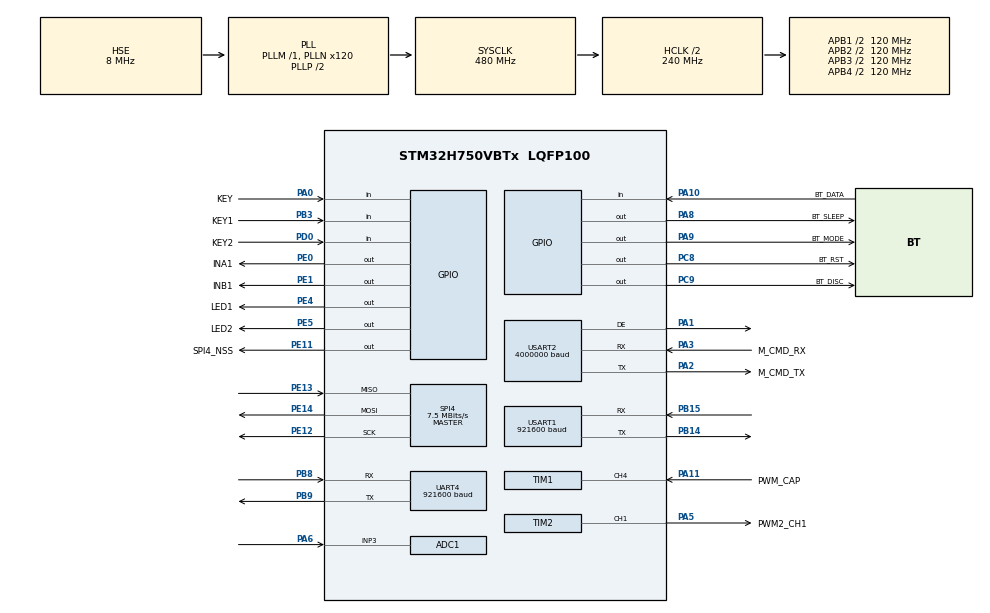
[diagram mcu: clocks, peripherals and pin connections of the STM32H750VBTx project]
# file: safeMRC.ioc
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ADC1.Channel-6\#ChannelRegularConversion=ADC_CHANNEL_3
ADC1.ContinuousConvMode=ENABLE
ADC1.ConversionDataManagement=ADC_CONVERSIONDATA_DMA_CIRCULAR
ADC1.NbrOfConversion=1
ADC1.NbrOfConversionFlag=1
ADC1.OffsetNumber-6\#ChannelRegularConversion=ADC_OFFSET_NONE
ADC1.OffsetSignedSaturation-6\#ChannelRegularConversion=DISABLE
ADC1.OversamplingMode=ENABLE
ADC1.Rank-6\#ChannelRegularConversion=1
ADC1.Ratio=16
ADC1.RightBitShift=ADC_RIGHTBITSHIFT_4
ADC1.SamplingTime-6\#ChannelRegularConversion=ADC_SAMPLETIME_64CYCLES_5
ADC1.master=1
CORTEX_M7.default_mode_Activation=1
Dma.ADC1.2.Direction=DMA_PERIPH_TO_MEMORY
Dma.ADC1.2.EventEnable=DISABLE
Dma.ADC1.2.FIFOMode=DMA_FIFOMODE_DISABLE
Dma.ADC1.2.Instance=DMA1_Stream4
Dma.ADC1.2.MemDataAlignment=DMA_MDATAALIGN_HALFWORD
Dma.ADC1.2.MemInc=DMA_MINC_ENABLE
Dma.ADC1.2.Mode=DMA_CIRCULAR
Dma.ADC1.2.PeriphDataAlignment=DMA_PDATAALIGN_HALFWORD
Dma.ADC1.2.PeriphInc=DMA_PINC_DISABLE
Dma.ADC1.2.Polarity=HAL_DMAMUX_REQ_GEN_RISING
Dma.ADC1.2.Priority=DMA_PRIORITY_LOW
Dma.ADC1.2.RequestNumber=1
Dma.ADC1.2.SignalID=NONE
Dma.ADC1.2.SyncEnable=DISABLE
Dma.ADC1.2.SyncPolarity=HAL_DMAMUX_SYNC_NO_EVENT
Dma.ADC1.2.SyncRequestNumber=1
Dma.ADC1.2.SyncSignalID=NONE
Dma.Request0=USART2_RX
Dma.Request1=USART2_TX
Dma.Request2=ADC1
Dma.Request3=USART1_RX
Dma.Request4=USART1_TX
Dma.Request5=SPI4_TX
Dma.Request6=SPI4_RX
Dma.Request7=UART4_RX
Dma.SPI4_RX.6.Direction=DMA_PERIPH_TO_MEMORY
Dma.SPI4_RX.6.EventEnable=DISABLE
Dma.SPI4_RX.6.FIFOMode=DMA_FIFOMODE_DISABLE
Dma.SPI4_RX.6.Instance=DMA1_Stream1
Dma.SPI4_RX.6.MemDataAlignment=DMA_MDATAALIGN_BYTE
Dma.SPI4_RX.6.MemInc=DMA_MINC_ENABLE
Dma.SPI4_RX.6.Mode=DMA_NORMAL
Dma.SPI4_RX.6.PeriphDataAlignment=DMA_PDATAALIGN_BYTE
Dma.SPI4_RX.6.PeriphInc=DMA_PINC_DISABLE
Dma.SPI4_RX.6.Polarity=HAL_DMAMUX_REQ_GEN_RISING
Dma.SPI4_RX.6.Priority=DMA_PRIORITY_MEDIUM
Dma.SPI4_RX.6.RequestNumber=1
Dma.SPI4_RX.6.SignalID=NONE
Dma.SPI4_RX.6.SyncEnable=DISABLE
Dma.SPI4_RX.6.SyncPolarity=HAL_DMAMUX_SYNC_NO_EVENT
Dma.SPI4_RX.6.SyncRequestNumber=1
Dma.SPI4_RX.6.SyncSignalID=NONE
Dma.SPI4_TX.5.Direction=DMA_MEMORY_TO_PERIPH
Dma.SPI4_TX.5.EventEnable=DISABLE
Dma.SPI4_TX.5.FIFOMode=DMA_FIFOMODE_DISABLE
Dma.SPI4_TX.5.Instance=DMA1_Stream0
Dma.SPI4_TX.5.MemDataAlignment=DMA_MDATAALIGN_BYTE
Dma.SPI4_TX.5.MemInc=DMA_MINC_ENABLE
Dma.SPI4_TX.5.Mode=DMA_NORMAL
Dma.SPI4_TX.5.PeriphDataAlignment=DMA_PDATAALIGN_BYTE
Dma.SPI4_TX.5.PeriphInc=DMA_PINC_DISABLE
Dma.SPI4_TX.5.Polarity=HAL_DMAMUX_REQ_GEN_RISING
Dma.SPI4_TX.5.Priority=DMA_PRIORITY_MEDIUM
Dma.SPI4_TX.5.RequestNumber=1
Dma.SPI4_TX.5.SignalID=NONE
Dma.SPI4_TX.5.SyncEnable=DISABLE
Dma.SPI4_TX.5.SyncPolarity=HAL_DMAMUX_SYNC_NO_EVENT
Dma.SPI4_TX.5.SyncRequestNumber=1
Dma.SPI4_TX.5.SyncSignalID=NONE
Dma.UART4_RX.7.Direction=DMA_PERIPH_TO_MEMORY
Dma.UART4_RX.7.EventEnable=DISABLE
Dma.UART4_RX.7.FIFOMode=DMA_FIFOMODE_DISABLE
Dma.UART4_RX.7.Instance=DMA1_Stream5
Dma.UART4_RX.7.MemDataAlignment=DMA_MDATAALIGN_BYTE
Dma.UART4_RX.7.MemInc=DMA_MINC_ENABLE
Dma.UART4_RX.7.Mode=DMA_NORMAL
Dma.UART4_RX.7.PeriphDataAlignment=DMA_PDATAALIGN_BYTE
Dma.UART4_RX.7.PeriphInc=DMA_PINC_DISABLE
Dma.UART4_RX.7.Polarity=HAL_DMAMUX_REQ_GEN_RISING
Dma.UART4_RX.7.Priority=DMA_PRIORITY_VERY_HIGH
Dma.UART4_RX.7.RequestNumber=1
Dma.UART4_RX.7.SignalID=NONE
Dma.UART4_RX.7.SyncEnable=DISABLE
Dma.UART4_RX.7.SyncPolarity=HAL_DMAMUX_SYNC_NO_EVENT
Dma.UART4_RX.7.SyncRequestNumber=1
Dma.UART4_RX.7.SyncSignalID=NONE
Dma.USART1_RX.3.Direction=DMA_PERIPH_TO_MEMORY
Dma.USART1_RX.3.EventEnable=DISABLE
Dma.USART1_RX.3.FIFOMode=DMA_FIFOMODE_DISABLE
Dma.USART1_RX.3.Instance=DMA2_Stream0
Dma.USART1_RX.3.MemDataAlignment=DMA_MDATAALIGN_BYTE
Dma.USART1_RX.3.MemInc=DMA_MINC_ENABLE
Dma.USART1_RX.3.Mode=DMA_NORMAL
Dma.USART1_RX.3.PeriphDataAlignment=DMA_PDATAALIGN_BYTE
Dma.USART1_RX.3.PeriphInc=DMA_PINC_DISABLE
Dma.USART1_RX.3.Polarity=HAL_DMAMUX_REQ_GEN_RISING
Dma.USART1_RX.3.Priority=DMA_PRIORITY_MEDIUM
Dma.USART1_RX.3.RequestNumber=1
Dma.USART1_RX.3.SignalID=NONE
Dma.USART1_RX.3.SyncEnable=DISABLE
Dma.USART1_RX.3.SyncPolarity=HAL_DMAMUX_SYNC_NO_EVENT
Dma.USART1_RX.3.SyncRequestNumber=1
Dma.USART1_RX.3.SyncSignalID=NONE
Dma.USART1_TX.4.Direction=DMA_MEMORY_TO_PERIPH
Dma.USART1_TX.4.EventEnable=DISABLE
Dma.USART1_TX.4.FIFOMode=DMA_FIFOMODE_DISABLE
Dma.USART1_TX.4.Instance=DMA2_Stream1
Dma.USART1_TX.4.MemDataAlignment=DMA_MDATAALIGN_BYTE
Dma.USART1_TX.4.MemInc=DMA_MINC_ENABLE
Dma.USART1_TX.4.Mode=DMA_NORMAL
Dma.USART1_TX.4.PeriphDataAlignment=DMA_PDATAALIGN_BYTE
Dma.USART1_TX.4.PeriphInc=DMA_PINC_DISABLE
Dma.USART1_TX.4.Polarity=HAL_DMAMUX_REQ_GEN_RISING
Dma.USART1_TX.4.Priority=DMA_PRIORITY_MEDIUM
Dma.USART1_TX.4.RequestNumber=1
Dma.USART1_TX.4.SignalID=NONE
Dma.USART1_TX.4.SyncEnable=DISABLE
Dma.USART1_TX.4.SyncPolarity=HAL_DMAMUX_SYNC_NO_EVENT
Dma.USART1_TX.4.SyncRequestNumber=1
Dma.USART1_TX.4.SyncSignalID=NONE
Dma.USART2_RX.0.Direction=DMA_PERIPH_TO_MEMORY
Dma.USART2_RX.0.EventEnable=DISABLE
Dma.USART2_RX.0.FIFOMode=DMA_FIFOMODE_DISABLE
Dma.USART2_RX.0.Instance=DMA1_Stream2
Dma.USART2_RX.0.MemDataAlignment=DMA_MDATAALIGN_BYTE
Dma.USART2_RX.0.MemInc=DMA_MINC_ENABLE
Dma.USART2_RX.0.Mode=DMA_NORMAL
Dma.USART2_RX.0.PeriphDataAlignment=DMA_PDATAALIGN_BYTE
Dma.USART2_RX.0.PeriphInc=DMA_PINC_DISABLE
Dma.USART2_RX.0.Polarity=HAL_DMAMUX_REQ_GEN_RISING
Dma.USART2_RX.0.Priority=DMA_PRIORITY_MEDIUM
Dma.USART2_RX.0.RequestNumber=1
Dma.USART2_RX.0.SignalID=NONE
Dma.USART2_RX.0.SyncEnable=DISABLE
Dma.USART2_RX.0.SyncPolarity=HAL_DMAMUX_SYNC_NO_EVENT
Dma.USART2_RX.0.SyncRequestNumber=1
Dma.USART2_RX.0.SyncSignalID=NONE
Dma.USART2_TX.1.Direction=DMA_MEMORY_TO_PERIPH
Dma.USART2_TX.1.EventEnable=DISABLE
Dma.USART2_TX.1.FIFOMode=DMA_FIFOMODE_DISABLE
Dma.USART2_TX.1.Instance=DMA1_Stream3
Dma.USART2_TX.1.MemDataAlignment=DMA_MDATAALIGN_BYTE
Dma.USART2_TX.1.MemInc=DMA_MINC_ENABLE
Dma.USART2_TX.1.Mode=DMA_NORMAL
Dma.USART2_TX.1.PeriphDataAlignment=DMA_PDATAALIGN_BYTE
Dma.USART2_TX.1.PeriphInc=DMA_PINC_DISABLE
Dma.USART2_TX.1.Polarity=HAL_DMAMUX_REQ_GEN_RISING
Dma.USART2_TX.1.Priority=DMA_PRIORITY_MEDIUM
Dma.USART2_TX.1.RequestNumber=1
Dma.USART2_TX.1.SignalID=NONE
Dma.USART2_TX.1.SyncEnable=DISABLE
Dma.USART2_TX.1.SyncPolarity=HAL_DMAMUX_SYNC_NO_EVENT
Dma.USART2_TX.1.SyncRequestNumber=1
Dma.USART2_TX.1.SyncSignalID=NONE
Mcu.Family=STM32H7
Mcu.Name=STM32H750VBTx
Mcu.Package=LQFP100
NVIC.DMA1_Stream0_IRQn=true\:0\:0\:false\:false\:true\:false\:true\:true
NVIC.DMA1_Stream1_IRQn=true\:0\:0\:false\:false\:true\:false\:true\:true
NVIC.DMA1_Stream2_IRQn=true\:6\:0\:true\:false\:true\:false\:true\:true
NVIC.DMA1_Stream3_IRQn=true\:6\:0\:true\:false\:true\:false\:true\:true
NVIC.DMA1_Stream4_IRQn=true\:6\:0\:true\:false\:true\:false\:true\:true
NVIC.DMA1_Stream5_IRQn=true\:0\:0\:false\:false\:true\:false\:true\:true
NVIC.DMA2_Stream0_IRQn=true\:0\:0\:false\:false\:true\:false\:true\:true
NVIC.DMA2_Stream1_IRQn=true\:0\:0\:false\:false\:true\:false\:true\:true
NVIC.PriorityGroup=NVIC_PRIORITYGROUP_4
NVIC.SPI4_IRQn=true\:0\:0\:false\:false\:true\:false\:true\:true
NVIC.TIM1_CC_IRQn=true\:3\:0\:true\:false\:true\:true\:true\:true
NVIC.TIM3_IRQn=true\:6\:0\:true\:false\:true\:true\:true\:true
NVIC.TIM4_IRQn=true\:6\:0\:true\:false\:true\:true\:true\:true
NVIC.TIM6_DAC_IRQn=true\:6\:0\:true\:false\:true\:true\:true\:true
NVIC.TIM7_IRQn=true\:5\:0\:true\:false\:true\:true\:true\:true
NVIC.UART4_IRQn=true\:6\:0\:true\:false\:true\:true\:true\:true
NVIC.USART1_IRQn=true\:7\:0\:true\:false\:true\:true\:true\:true
NVIC.USART2_IRQn=true\:1\:0\:true\:false\:true\:false\:true\:true
PA0.GPIO_Label=KEY
PA0.GPIO_PuPd=GPIO_PULLDOWN
PA0.Signal=GPIO_Input
PA1.Mode=Hardware Flow Control (RS485)
PA1.Signal=USART2_DE
PA10.GPIO_Label=BT_DATA
PA10.Signal=GPIO_Input
PA11.GPIO_Label=PWM_CAP
PA11.Signal=S_TIM1_CH4
PA13\ (JTMS/SWDIO).Mode=Serial_Wire
PA13\ (JTMS/SWDIO).Signal=DEBUG_JTMS-SWDIO
PA14\ (JTCK/SWCLK).Mode=Serial_Wire
PA14\ (JTCK/SWCLK).Signal=DEBUG_JTCK-SWCLK
PA2.GPIO_Label=M_CMD_TX
PA2.GPIO_PuPd=GPIO_PULLUP
PA2.GPIO_Speed=GPIO_SPEED_FREQ_VERY_HIGH
PA2.Mode=Asynchronous
PA2.Signal=USART2_TX
PA3.GPIO_Label=M_CMD_RX
PA3.GPIO_ModeDefaultPP=GPIO_MODE_AF_PP
PA3.GPIO_PuPd=GPIO_PULLUP
PA3.GPIO_Speed=GPIO_SPEED_FREQ_VERY_HIGH
PA3.Mode=Asynchronous
PA3.Signal=USART2_RX
PA5.GPIO_Label=PWM2_CH1
PA5.Signal=S_TIM2_CH1_ETR
PA6.Signal=ADCx_INP3
PA8.GPIO_Label=BT_SLEEP
PA8.Signal=GPIO_Output
PA9.GPIO_Label=BT_MODE
PA9.Signal=GPIO_Output
PB14.Mode=Asynchronous
PB14.Signal=USART1_TX
PB15.Mode=Asynchronous
PB15.Signal=USART1_RX
PB3\ (JTDO/TRACESWO).GPIO_Label=KEY1
PB3\ (JTDO/TRACESWO).GPIO_PuPd=GPIO_PULLUP
PB3\ (JTDO/TRACESWO).Signal=GPIO_Input
PB8.Mode=Asynchronous
PB8.Signal=UART4_RX
PB9.Mode=Asynchronous
PB9.Signal=UART4_TX
PC8.GPIO_Label=BT_RST
PC8.Signal=GPIO_Output
PC9.GPIO_Label=BT_DISC
PC9.Signal=GPIO_Output
PD0.GPIO_Label=KEY2
PD0.GPIO_PuPd=GPIO_PULLUP
PD0.Signal=GPIO_Input
PE0.GPIO_Label=INA1
PE0.GPIO_PuPd=GPIO_PULLDOWN
PE0.GPIO_Speed=GPIO_SPEED_FREQ_HIGH
PE0.Signal=GPIO_Output
PE1.GPIO_Label=INB1
PE1.GPIO_PuPd=GPIO_PULLDOWN
PE1.GPIO_Speed=GPIO_SPEED_FREQ_HIGH
PE1.Signal=GPIO_Output
PE11.GPIO_Label=SPI4_NSS
PE11.Signal=GPIO_Output
PE12.GPIO_PuPd=GPIO_PULLUP
PE12.GPIO_Speed=GPIO_SPEED_FREQ_HIGH
PE12.Mode=Full_Duplex_Master
PE12.Signal=SPI4_SCK
PE13.GPIO_PuPd=GPIO_NOPULL
PE13.GPIO_Speed=GPIO_SPEED_FREQ_HIGH
PE13.Mode=Full_Duplex_Master
PE13.Signal=SPI4_MISO
PE14.GPIO_PuPd=GPIO_PULLUP
PE14.GPIO_Speed=GPIO_SPEED_FREQ_HIGH
PE14.Mode=Full_Duplex_Master
PE14.Signal=SPI4_MOSI
PE4.GPIO_Label=LED1
PE4.GPIO_PuPd=GPIO_PULLDOWN
PE4.Signal=GPIO_Output
PE5.GPIO_Label=LED2
PE5.GPIO_PuPd=GPIO_PULLDOWN
PE5.Signal=GPIO_Output
PH0-OSC_IN\ (PH0).Mode=HSE-External-Oscillator
PH0-OSC_IN\ (PH0).Signal=RCC_OSC_IN
PH1-OSC_OUT\ (PH1).Mode=HSE-External-Oscillator
PH1-OSC_OUT\ (PH1).Signal=RCC_OSC_OUT
ProjectManager.HeapSize=0x200
ProjectManager.StackSize=0x400
ProjectManager.TargetToolchain=MDK-ARM V5
RCC.ADCFreq_Value=75000000
RCC.APB1Freq_Value=120000000
RCC.APB2Freq_Value=120000000
RCC.APB3Freq_Value=120000000
RCC.APB4Freq_Value=120000000
RCC.CortexFreq_Value=480000000
RCC.D1PPRE=RCC_APB3_DIV2
RCC.D2PPRE1=RCC_APB1_DIV2
RCC.D2PPRE2=RCC_APB2_DIV2
RCC.D3PPRE=RCC_APB4_DIV2
RCC.DIVM1=1
RCC.DIVM2=1
RCC.DIVN1=120
RCC.DIVN2=18
RCC.DIVQ1=5
RCC.HCLKFreq_Value=240000000
RCC.HPRE=RCC_HCLK_DIV2
RCC.HSE_VALUE=8000000
RCC.PLL2FRACN=6144
RCC.PLL3FRACN=0
RCC.PLLFRACN=0
RCC.PLLSourceVirtual=RCC_PLLSOURCE_HSE
RCC.SYSCLKFreq_VALUE=480000000
RCC.SYSCLKSource=RCC_SYSCLKSOURCE_PLLCLK
RCC.USBFreq_Value=192000000
SH.ADCx_INP3.0=ADC1_INP3,IN3-Single-Ended
SH.S_TIM1_CH4.0=TIM1_CH4,Input_Capture4_from_TI4
SH.S_TIM2_CH1_ETR.0=TIM2_CH1,PWM Generation1 CH1
SPI4.BaudRatePrescaler=SPI_BAUDRATEPRESCALER_16
SPI4.CLKPhase=SPI_PHASE_2EDGE
SPI4.CLKPolarity=SPI_POLARITY_HIGH
SPI4.CalculateBaudRate=7.5 MBits/s
SPI4.DataSize=SPI_DATASIZE_8BIT
SPI4.Direction=SPI_DIRECTION_2LINES
SPI4.Mode=SPI_MODE_MASTER
SPI4.VirtualType=VM_MASTER
TIM1.Channel-Input_Capture4_from_TI4=TIM_CHANNEL_4
TIM1.Period=0xffff
TIM1.Prescaler=3
TIM2.Channel-PWM\ Generation1\ CH1=TIM_CHANNEL_1
TIM2.Period=0xffff
TIM2.Prescaler=9
TIM3.Period=0xffff
TIM3.Prescaler=9
TIM4.Period=23999
TIM4.Prescaler=0
TIM6.Period=23999
TIM6.Prescaler=9
TIM7.Period=23999
TIM7.Prescaler=9
UART4.BaudRate=921600
USART1.BaudRate=921600
USART1.VirtualMode-Asynchronous=VM_ASYNC
USART2.BaudRate=4000000
USART2.VirtualMode-Asynchronous=VM_ASYNC
USART2.VirtualMode-Hardware\ Flow\ Control\ (RS485)=VM_ASYNC
VP_MEMORYMAP_VS_MEMORYMAP.Mode=CurAppReg
VP_TIM13_VS_ClockSourceINT.Mode=Enable_Timer
VP_TIM1_VS_ClockSourceINT.Mode=Internal
VP_TIM2_VS_ClockSourceINT.Mode=Internal
VP_TIM3_VS_ClockSourceINT.Mode=Internal
VP_TIM4_VS_ClockSourceINT.Mode=Internal
VP_TIM6_VS_ClockSourceINT.Mode=Enable_Timer
VP_TIM7_VS_ClockSourceINT.Mode=Enable_Timer
board=custom

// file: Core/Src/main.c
/* USER CODE BEGIN Header */
/**
  ******************************************************************************
  * @file           : main.c
  * @brief          : Main program body
  ******************************************************************************
  * @attention
  *
  * Copyright (c) 2025 STMicroelectronics.
  * All rights reserved.
  *
  * This software is licensed under terms that can be found in the LICENSE file
  * in the root directory of this software component.
  * If no LICENSE file comes with this software, it is provided AS-IS.
  *
  ******************************************************************************
  */
/* USER CODE END Header */
#include "main.h"
#include "adc.h"
#include "dma.h"
#include "memorymap.h"
#include "spi.h"
#include "tim.h"
#include "usart.h"
#include "gpio.h"

/* USER CODE BEGIN Includes */
#include "drv_mrc.h"
#include "stdio.h"
#include "string.h"
#include "mrc_debugcli.h"

/* USER CODE END Includes */

/* USER CODE BEGIN PTD */
Device_MRC_t MRC;
/* USER CODE END PTD */

void SystemClock_Config(void);
static void MPU_Config(void);

int main(void)
{

  /* MPU Configuration--------------------------------------------------------*/
  MPU_Config();

  /* MCU Configuration--------------------------------------------------------*/

  /* Reset of all peripherals, Initializes the Flash interface and the Systick. */
  HAL_Init();

  /* Configure the system clock */
  SystemClock_Config();

  /* Initialize all configured peripherals */
  MX_GPIO_Init();
  MX_DMA_Init();
  MX_USART1_UART_Init();
  MX_USART2_UART_Init();
  MX_ADC1_Init();
  MX_TIM2_Init();
  MX_TIM3_Init();
  MX_TIM4_Init();
  MX_TIM1_Init();
  MX_TIM6_Init();
  MX_UART4_Init();
  MX_TIM7_Init();
  MX_SPI4_Init();
  MX_TIM13_Init();
  /* USER CODE BEGIN 2 */
  MRC_Init((uint8_t *)"MRC", &MRC, 1);
  // 初始化UART4调试指令集
  MRC_DebugCLI_Init(&huart1);
  /* USER CODE END 2 */

  /* Infinite loop */
  while (1)
  {

    /* USER CODE BEGIN 3 */
    MRC_Com_Process(&MRC);
    MRC_Key1_Reaction(&MRC);
    MRC_Key2_Reaction(&MRC);
    if(MRC.control_loop_flag == 1) // 1kHz contorl loop
    {
      MRC.control_loop_flag = 0;
      MRC_StateMachine_Task1ms(&MRC.statemachine);
      // printf("Actual coil current, filtered coil current: %.3f, %.3f\n", MRC.actual_coil_current, MRC.filtered_coil_current);
      //      MRC.print_count++;
      //      if(MRC.print_count == 1000)
      //      {
        //        MRC.print_count = 0;
        //        printf("angle1, angle2, freq: %.6f, %.6f, %.1f\n", MRC.Encoder.raw_continuous_angle, MRC.Encoder.filtered_angle, MRC.Encoder.real_freq);
        //      }
        // printf("Coil current, AnglarVelocity, Encoder postion(deg) and filtered_angle(deg) with period and high_time: %.3f, %.3f, %.3f, %.3f, %d, %d\n", MRC.actual_coil_current, MRC.Encoder.AngularVelocity, MRC.Encoder.raw_angle, MRC.Encoder.filtered_angle, MRC.Encoder.Encoder_Duty.Period, MRC.Encoder.Encoder_Duty.HighTime);
        MRC_CoilCurrentControl_Update(&MRC);
      }
    if(MRC.coil_current_update_flag == 1) // 10kHZ coil current update
    {
      // if(MRC.Encoder.Encoder_Duty.CapFlag == 1)
      // {
      //   Encoder_Calibrate_n_Filter(&MRC.Encoder);
      // }

      Encoder_Calibrate_n_Filter(&MRC.Encoder);
      //MRC_collision_detect(&MRC);
      MRC.filtered_coil_current = MRC_Update_Coil_Current(&MRC);
      MRC.coil_current_update_flag = 0;
    }
  }
  /* USER CODE END 3 */
}

void SystemClock_Config(void)
{
  RCC_OscInitTypeDef RCC_OscInitStruct = {0};
  RCC_ClkInitTypeDef RCC_ClkInitStruct = {0};

  /** Supply configuration update enable
  */
  HAL_PWREx_ConfigSupply(PWR_LDO_SUPPLY);

  /** Configure the main internal regulator output voltage
  */
  __HAL_PWR_VOLTAGESCALING_CONFIG(PWR_REGULATOR_VOLTAGE_SCALE0);

  while(!__HAL_PWR_GET_FLAG(PWR_FLAG_VOSRDY)) {}

  /** Initializes the RCC Oscillators according to the specified parameters
  * in the RCC_OscInitTypeDef structure.
  */
  RCC_OscInitStruct.OscillatorType = RCC_OSCILLATORTYPE_HSE;
  RCC_OscInitStruct.HSEState = RCC_HSE_ON;
  RCC_OscInitStruct.PLL.PLLState = RCC_PLL_ON;
  RCC_OscInitStruct.PLL.PLLSource = RCC_PLLSOURCE_HSE;
  RCC_OscInitStruct.PLL.PLLM = 1;
  RCC_OscInitStruct.PLL.PLLN = 120;
  RCC_OscInitStruct.PLL.PLLP = 2;
  RCC_OscInitStruct.PLL.PLLQ = 5;
  RCC_OscInitStruct.PLL.PLLR = 2;
  RCC_OscInitStruct.PLL.PLLRGE = RCC_PLL1VCIRANGE_3;
  RCC_OscInitStruct.PLL.PLLVCOSEL = RCC_PLL1VCOWIDE;
  RCC_OscInitStruct.PLL.PLLFRACN = 0;
  if (HAL_RCC_OscConfig(&RCC_OscInitStruct) != HAL_OK)
  {
    Error_Handler();
  }

  /** Initializes the CPU, AHB and APB buses clocks
  */
  RCC_ClkInitStruct.ClockType = RCC_CLOCKTYPE_HCLK|RCC_CLOCKTYPE_SYSCLK
                              |RCC_CLOCKTYPE_PCLK1|RCC_CLOCKTYPE_PCLK2
                              |RCC_CLOCKTYPE_D3PCLK1|RCC_CLOCKTYPE_D1PCLK1;
  RCC_ClkInitStruct.SYSCLKSource = RCC_SYSCLKSOURCE_PLLCLK;
  RCC_ClkInitStruct.SYSCLKDivider = RCC_SYSCLK_DIV1;
  RCC_ClkInitStruct.AHBCLKDivider = RCC_HCLK_DIV2;
  RCC_ClkInitStruct.APB3CLKDivider = RCC_APB3_DIV2;
  RCC_ClkInitStruct.APB1CLKDivider = RCC_APB1_DIV2;
  RCC_ClkInitStruct.APB2CLKDivider = RCC_APB2_DIV2;
  RCC_ClkInitStruct.APB4CLKDivider = RCC_APB4_DIV2;

  if (HAL_RCC_ClockConfig(&RCC_ClkInitStruct, FLASH_LATENCY_4) != HAL_OK)
  {
    Error_Handler();
  }
}

/* USER CODE BEGIN 4 */
void HAL_TIM_IC_CaptureCallback(TIM_HandleTypeDef *htim)
{
	if (htim->Instance == TIM1)
	{
		if (htim->Channel == HAL_TIM_ACTIVE_CHANNEL_4)
		{
			CaptureDutyCycle(&MRC.Encoder);
		}
	}
}

void HAL_TIM_PeriodElapsedCallback(TIM_HandleTypeDef *htim)
{
	if (htim->Instance == TIM6)
	{
    Keyscan(&MRC.KEY1);
    Keyscan(&MRC.KEY2);
    if (MRC.control_loop_flag == 0)
    {
      MRC.control_loop_flag = 1;
    }
  }
  if (htim->Instance == TIM4)
  {
    MRC.coil_current_update_flag = 1;
  }

}

void HAL_UART_TxCpltCallback(UART_HandleTypeDef *huart)
{
  if(huart->Instance == USART2)
  {
		led_off(&MRC.LED1);// permanently used as USART_DE to set RX enable (this version hardware have RS485 bug)
    memset(MRC.com.cmd_msg_buffer, 0, MRC_CMD_MSG_BUFFER_SIZE);
    HAL_UART_Receive_DMA(MRC.com.mrc_huart, MRC.com.cmd_msg_buffer, MRC_CMD_MSG_BUFFER_SIZE);
  }
}

int fputc(int ch, FILE *f)
{

	HAL_UART_Transmit(&huart1, (uint8_t *)&ch, 1, 0xffff);

	return ch;
}
/* USER CODE END 4 */

 /* MPU Configuration */

void MPU_Config(void)
{
  MPU_Region_InitTypeDef MPU_InitStruct = {0};

  /* Disables the MPU */
  HAL_MPU_Disable();

  /** Initializes and configures the Region and the memory to be protected
  */
  MPU_InitStruct.Enable = MPU_REGION_ENABLE;
  MPU_InitStruct.Number = MPU_REGION_NUMBER0;
  MPU_InitStruct.BaseAddress = 0x0;
  MPU_InitStruct.Size = MPU_REGION_SIZE_4GB;
  MPU_InitStruct.SubRegionDisable = 0x87;
  MPU_InitStruct.TypeExtField = MPU_TEX_LEVEL0;
  MPU_InitStruct.AccessPermission = MPU_REGION_NO_ACCESS;
  MPU_InitStruct.DisableExec = MPU_INSTRUCTION_ACCESS_DISABLE;
  MPU_InitStruct.IsShareable = MPU_ACCESS_SHAREABLE;
  MPU_InitStruct.IsCacheable = MPU_ACCESS_NOT_CACHEABLE;
  MPU_InitStruct.IsBufferable = MPU_ACCESS_NOT_BUFFERABLE;

  HAL_MPU_ConfigRegion(&MPU_InitStruct);
  /* Enables the MPU */
  HAL_MPU_Enable(MPU_PRIVILEGED_DEFAULT);

}

void Error_Handler(void)
{
  __disable_irq();
  while (1)
  {
  }
}
